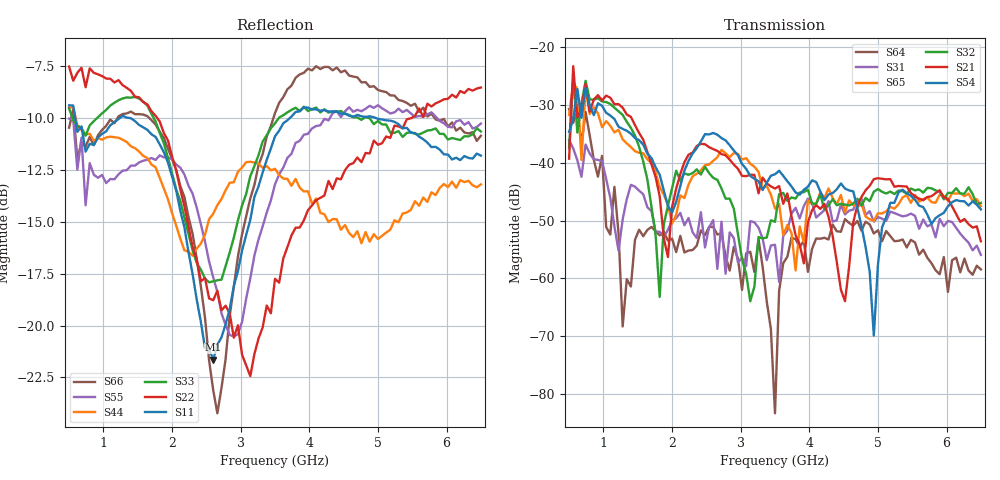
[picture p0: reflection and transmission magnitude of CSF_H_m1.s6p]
!Keysight Technologies,M9804A,MY58100912,A.14.10.03
!Date: Thursday, April 27, 2023 10:28:33
!Correction: S11(C  6-Port  )
!S12(C  6-Port  )
!S13(C  6-Port  )
!S14(C  6-Port  )
!S15(C  6-Port  )
!S16(C  6-Port  )
!S21(C  6-Port  )
!S22(C  6-Port  )
!S23(C  6-Port  )
!S24(C  6-Port  )
!S25(C  6-Port  )
!S26(C  6-Port  )
!S31(C  6-Port  )
!S32(C  6-Port  )
!S33(C  6-Port  )
!S34(C  6-Port  )
!S35(C  6-Port  )
!S36(C  6-Port  )
!S41(C  6-Port  )
!S42(C  6-Port  )
!S43(C  6-Port  )
!S44(C  6-Port  )
!S45(C  6-Port  )
!S46(C  6-Port  )
!S51(C  6-Port  )
!S52(C  6-Port  )
!S53(C  6-Port  )
!S54(C  6-Port  )
!S55(C  6-Port  )
!S56(C  6-Port  )
!S61(C  6-Port  )
!S62(C  6-Port  )
!S63(C  6-Port  )
!S64(C  6-Port  )
!S65(C  6-Port  )
!S66(C  6-Port  )
!S6P File: Measurement: :
# Hz S  RI  R 50
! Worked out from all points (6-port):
!   101 points, 500 MHz to 6.5 GHz, reference 50 ohm
!   strongest paths, dB at 500 MHz, 2 GHz, 3.5 GHz, 5 GHz, 6.5 GHz:
!     S54: -34.7, -48.6, -42.0, -57.6, -48.1
!     S21: -39.3, -47.7, -44.5, -42.7, -53.6
!     S32: -37.4, -44.4, -50.2, -44.6, -47.0
!     S65: -31.8, -50.5, -47.9, -48.8, -47.5
!     S31: -36.1, -50.0, -54.2, -49.4, -55.9
!     S64: -30.7, -53.1, -83.3, -51.7, -58.4
!   lowest |S11| = -21.6 dB at 2.6 GHz (marker M1), VSWR 1.18, Z = 42.6 + j2.03 ohm
!   |S11| at or under -10 dB: 588.7 MHz to 1.238 GHz (649.2 MHz wide, 71.1 % of centre); 1.384 GHz to 3.716 GHz (2.332 GHz wide, 91.4 % of centre); 4.971 GHz to end of sweep
